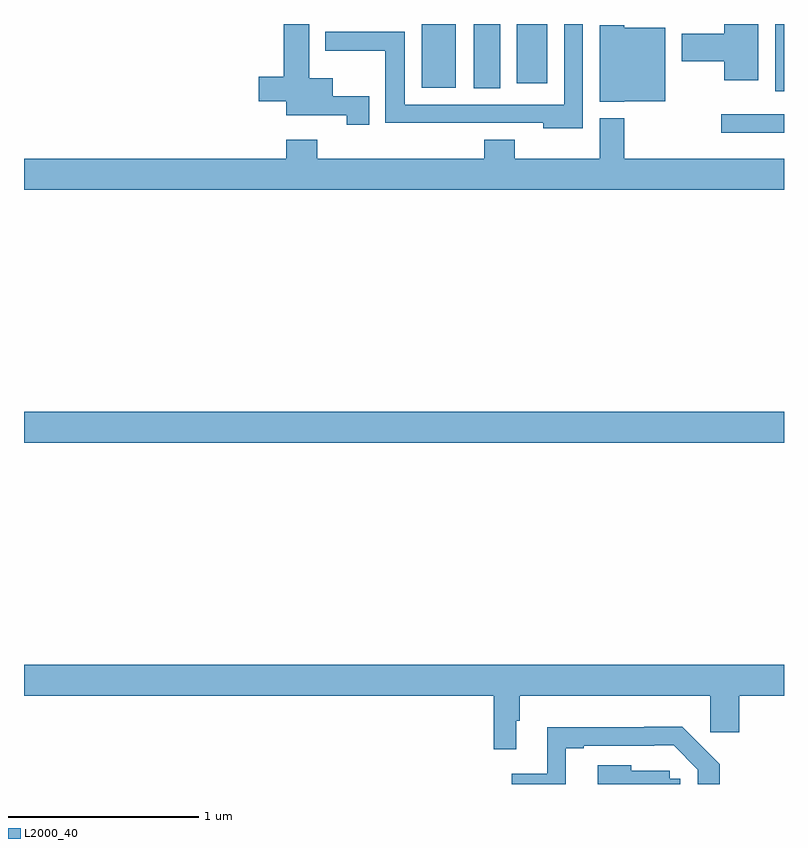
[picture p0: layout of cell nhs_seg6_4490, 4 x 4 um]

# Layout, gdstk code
import gdstk
lib = gdstk.Library(unit=1e-6, precision=1e-09)
def R(c, l, rs):  # rectangles x0, y0, x1, y1
    for r in rs: c.add(gdstk.rectangle(r[:2], r[2:], *l))
def P(c, l, *ps):  # polygons
    for p in ps: c.add(gdstk.Polygon(p, *l))
L2000_40 = (2000, 40)

nhs_seg6_4490 = lib.new_cell('nhs_seg6_4490')
R(nhs_seg6_4490, L2000_40, [(375,987.296,379,987.46), (378.669,988.928,379,989.025), (378.953,989.145,379,989.5), (377.366,989.161,377.506,989.5), (377.093,989.165,377.272,989.5), (377.594,989.187,377.755,989.5)])
P(nhs_seg6_4490, L2000_40, [(378.865,989.5),(378.686,989.5),(378.686,989.45),(378.461,989.45),(378.461,989.303),(378.686,989.303),(378.686,989.204),(378.865,989.204)],
  [(376.816,989.121),(376.624,989.121),(376.624,989.215),(376.501,989.215),(376.501,989.5),(376.367,989.5),(376.367,989.223),(376.236,989.223),(376.236,989.093),(376.379,989.093),(376.379,989.021),(376.699,989.021),(376.699,988.971),(376.816,988.971)],
  [(377.94,989.5),(377.844,989.5),(377.844,989.076),(377.005,989.076),(377.005,989.459),(376.586,989.459),(376.586,989.36),(376.693,989.36),(376.693,989.359),(376.901,989.359),(376.901,988.979),(377.339,988.979),(377.339,988.98),(377.733,988.98),(377.733,988.952),(377.94,988.952)],
  [(378.159,989.093),(378.376,989.093),(378.376,989.479),(378.159,989.479),(378.159,989.494),(378.029,989.494),(378.029,989.09),(378.159,989.09)],
  [(379,988.792),(378.158,988.792),(378.158,989.005),(378.029,989.005),(378.029,988.792),(377.583,988.792),(377.583,988.891),(377.423,988.891),(377.423,988.792),(376.544,988.792),(376.544,988.891),(376.379,988.891),(376.379,988.792),(375,988.792),(375,988.628),(379,988.628)],
  [(377.59,985.832),(377.609,985.832),(377.609,985.964),(378.613,985.964),(378.613,985.773),(378.764,985.773),(378.764,985.964),(379,985.964),(379,986.128),(375,986.128),(375,985.964),(377.473,985.964),(377.473,985.683),(377.59,985.683)],
  [(377.851,985.689),(377.947,985.689),(377.947,985.701),(378.317,985.701),(378.317,985.703),(378.419,985.703),(378.546,985.575),(378.546,985.5),(378.662,985.5),(378.662,985.603),(378.464,985.801),(378.265,985.801),(378.265,985.798),(377.753,985.798),(377.753,985.554),(377.566,985.554),(377.566,985.5),(377.851,985.5)],
  [(378.453,985.527),(378.399,985.527),(378.399,985.57),(378.196,985.57),(378.196,985.6),(378.02,985.6),(378.02,985.5),(378.453,985.5)])

lib.write_gds('nhs_seg6_4490.gds')
